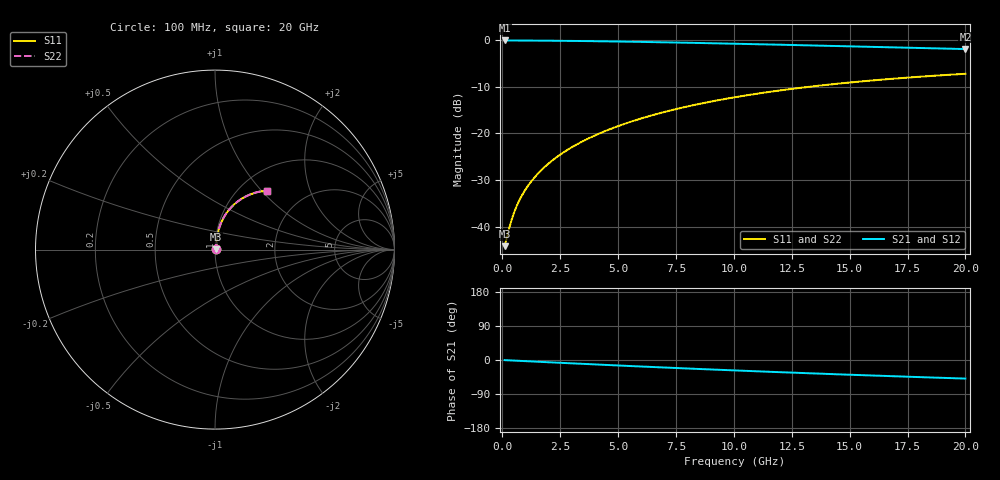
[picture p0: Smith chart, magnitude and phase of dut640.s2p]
! Touchstone file exported from HFSS 2024.1.0
!  File:  C:/UserFiles/LocalFiles/RDL_TSV_Batchsim/temp_RDL_bottom_640_1779784857.aedt
!  Generated:  04:43:31 PM May 26, 2026
!  Design:  RDL_bottom
!  Project:  temp_RDL_bottom_640_1779784857
!  Setup:  Setup1
!  Solution:  Sweep
! Variables:
!  dtsv = 10.80580581um
!  hbump = 3um
!  htsv = 81.32um
!  ldown = 675.44um
!  lrdl = 100um
!  p = 40
!  p1 = 52.06um
!  rhole = 1um
!  t = 450um
!  tdown = 2.07um
!  trdl = 3.915915916um
!  wdown = 21.72um
!  wrdl = 20um
# GHz S MA R 50.000000
! Terminal data exported
! Port[1] = RDL1_T1
! Port[2] = RDL1_T2
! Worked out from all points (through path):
!   200 points, 100 MHz to 20 GHz, reference 50 ohm
!   highest |S21| = -0.05 dB at 100 MHz (marker M1); lowest = -1.9 dB at 20 GHz (marker M2)
!   group delay of S21, straight-line fit = 6.78 ps
!   lowest |S11| = -44.2 dB at 100 MHz (marker M3), VSWR 1.01, Z = 50.6 + j0.26 ohm
!   |S11| at or under -10 dB: start of sweep to 13.24 GHz
!   |S22| runs from -44.2 to -7.2 dB; largest |S21 - S12| = 1.7e-14
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0.1  0.006172 24.6  0.9944 -0.3  0.9944 -0.3  0.006172 24.6
! Gamma 0 0 0 0
! Port Impedance 50 0 50 0
0.3  0.009638 52.0  0.994 -0.9  0.994 -0.9  0.009639 52.0
0.4  0.01176 58.5  0.9938 -1.2  0.9938 -1.2  0.01176 58.5
0.6  0.01613 65.8  0.9932 -1.8  0.9932 -1.8  0.01613 65.8
0.7  0.01833 68.2  0.9929 -2.1  0.9929 -2.1  0.01833 68.2
0.9  0.02274 71.5  0.9923 -2.7  0.9923 -2.7  0.02274 71.5
1.2  0.02941 74.7  0.9914 -3.6  0.9914 -3.6  0.02941 74.7
1.4  0.03389 76.2  0.9908 -4.2  0.9908 -4.2  0.03389 76.2
1.7  0.04069 77.7  0.9897 -5.1  0.9897 -5.1  0.04069 77.7
2.2  0.0522 79.2  0.9876 -6.5  0.9876 -6.5  0.0522 79.2
2.8  0.06628 80.0  0.9845 -8.3  0.9845 -8.3  0.06628 80.0
3.5  0.08301 80.2  0.9802 -10.3  0.9802 -10.3  0.08302 80.2
4.2  0.1 79.9  0.9752 -12.3  0.9752 -12.3  0.1001 79.9
5  0.1198 79.1  0.9688 -14.5  0.9688 -14.5  0.1198 79.1
5.9  0.1423 77.9  0.9608 -16.9  0.9608 -16.9  0.1423 77.9
6.8  0.1649 76.4  0.9522 -19.3  0.9522 -19.3  0.1649 76.4
8.4  0.2047 73.2  0.9356 -23.5  0.9356 -23.5  0.2048 73.3
10.1  0.2459 69.6  0.9168 -27.7  0.9168 -27.7  0.246 69.6
11.7  0.2828 66.1  0.8985 -31.5  0.8985 -31.5  0.283 66.1
13.4  0.3197 62.3  0.8788 -35.4  0.8788 -35.4  0.3198 62.4
16.7  0.3833 55.3  0.8406 -42.5  0.8406 -42.5  0.3836 55.3
20  0.4366 48.7  0.804 -49.0  0.804 -49.0  0.4368 48.8
